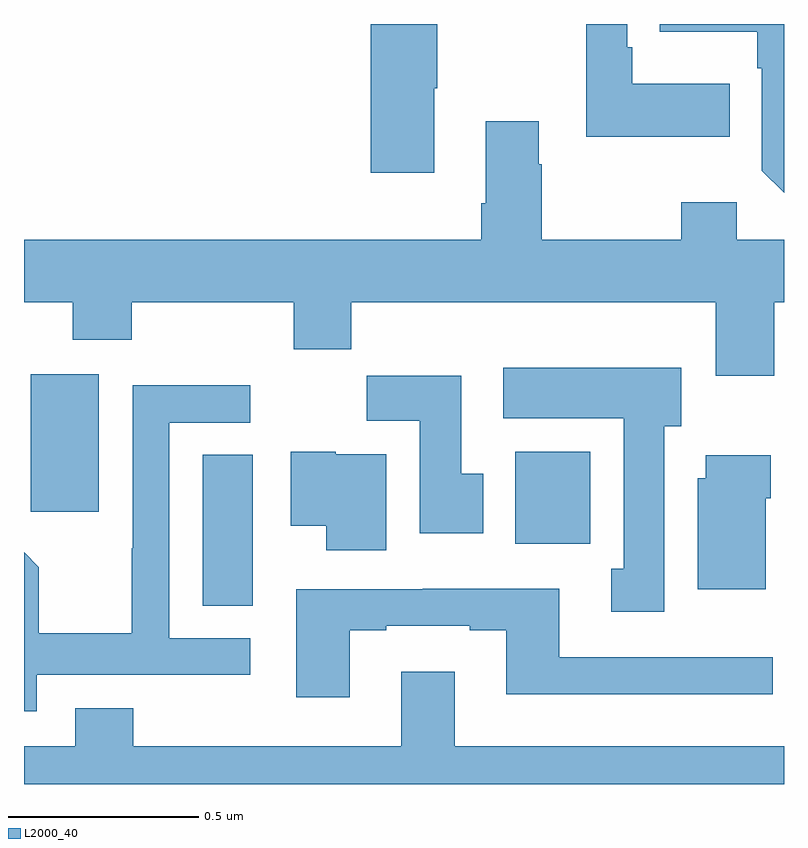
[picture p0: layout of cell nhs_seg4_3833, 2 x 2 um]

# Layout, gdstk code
import gdstk
lib = gdstk.Library(unit=1e-6, precision=1e-09)
def R(c, l, rs):  # rectangles x0, y0, x1, y1
    for r in rs: c.add(gdstk.rectangle(r[:2], r[2:], *l))
def P(c, l, *ps):  # polygons
    for p in ps: c.add(gdstk.Polygon(p, *l))
L2000_40 = (2000, 40)

nhs_seg4_3833 = lib.new_cell('nhs_seg4_3833')
R(nhs_seg4_3833, L2000_40, [(158.471,781.369,158.602,781.766), (159.293,781.532,159.49,781.774), (158.018,781.617,158.197,781.978)])
P(nhs_seg4_3833, L2000_40, [(160,782.9),(159.673,782.9),(159.673,782.879),(159.93,782.879),(159.93,782.783),(159.942,782.783),(159.942,782.514),(160,782.456)],
  [(159.857,782.743),(159.601,782.743),(159.601,782.839),(159.588,782.839),(159.588,782.9),(159.48,782.9),(159.48,782.603),(159.857,782.603)],
  [(159.079,782.731),(159.087,782.731),(159.087,782.9),(158.912,782.9),(158.912,782.508),(159.079,782.508)],
  [(159.974,782.168),(160,782.168),(160,782.332),(159.876,782.332),(159.876,782.431),(159.73,782.431),(159.73,782.332),(159.363,782.332),(159.363,782.531),(159.355,782.531),(159.355,782.644),(159.215,782.644),(159.215,782.428),(159.203,782.428),(159.203,782.332),(158,782.332),(158,782.168),(158.128,782.168),(158.128,782.069),(158.283,782.069),(158.283,782.168),(158.71,782.168),(158.71,782.044),(158.861,782.044),(158.861,782.168),(159.821,782.168),(159.821,781.974),(159.974,781.974)],
  [(159.685,781.842),(159.73,781.842),(159.73,781.996),(159.261,781.996),(159.261,781.862),(159.578,781.862),(159.578,781.466),(159.545,781.466),(159.545,781.353),(159.685,781.353)],
  [(159.208,781.716),(159.151,781.716),(159.151,781.975),(158.902,781.975),(158.902,781.856),(159.041,781.856),(159.041,781.56),(159.208,781.56)],
  [(158.034,781.188),(158.596,781.188),(158.596,781.284),(158.382,781.284),(158.382,781.851),(158.596,781.851),(158.596,781.95),(158.286,781.95),(158.286,781.52),(158.284,781.52),(158.284,781.297),(158.039,781.297),(158.039,781.471),(158,781.51),(158,781.091),(158.034,781.091)],
  [(158.953,781.768),(158.82,781.768),(158.82,781.774),(158.702,781.774),(158.702,781.58),(158.795,781.58),(158.795,781.515),(158.953,781.515)],
  [(159.952,781.652),(159.965,781.652),(159.965,781.765),(159.794,781.765),(159.794,781.704),(159.773,781.704),(159.773,781.412),(159.952,781.412)],
  [(158.857,781.305),(158.953,781.305),(158.953,781.317),(159.173,781.317),(159.173,781.305),(159.269,781.305),(159.269,781.136),(159.97,781.136),(159.97,781.233),(159.409,781.233),(159.409,781.414),(159.049,781.414),(159.049,781.413),(158.717,781.413),(158.717,781.128),(158.857,781.128)],
  [(160,781),(159.133,781),(159.133,781.195),(158.993,781.195),(158.993,781),(158.288,781),(158.288,781.099),(158.135,781.099),(158.135,781),(158,781),(158,780.9),(160,780.9)])

lib.write_gds('nhs_seg4_3833.gds')
